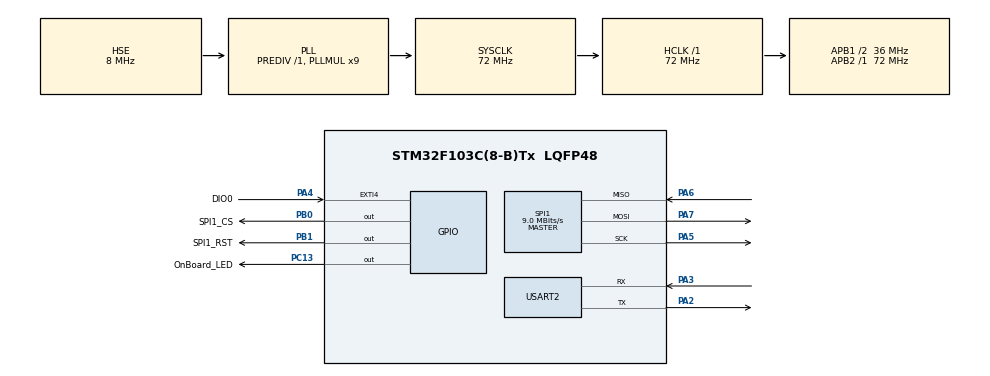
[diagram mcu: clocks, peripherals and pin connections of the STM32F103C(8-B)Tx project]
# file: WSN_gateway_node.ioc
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Mcu.Family=STM32F1
Mcu.Name=STM32F103C(8-B)Tx
Mcu.Package=LQFP48
NVIC.EXTI4_IRQn=true\:0\:0\:false\:false\:true\:true\:true\:true
NVIC.PriorityGroup=NVIC_PRIORITYGROUP_4
NVIC.RTC_Alarm_IRQn=true\:0\:0\:false\:false\:true\:true\:true\:true
NVIC.RTC_IRQn=true\:0\:0\:false\:false\:true\:true\:true\:true
NVIC.SPI1_IRQn=true\:0\:0\:false\:false\:true\:true\:true\:true
NVIC.USART2_IRQn=true\:0\:0\:true\:false\:true\:true\:true\:true
PA13.Mode=Serial_Wire
PA13.Signal=SYS_JTMS-SWDIO
PA14.Mode=Serial_Wire
PA14.Signal=SYS_JTCK-SWCLK
PA2.Mode=Asynchronous
PA2.Signal=USART2_TX
PA3.Mode=Asynchronous
PA3.Signal=USART2_RX
PA4.GPIO_Label=DIO0
PA4.Signal=GPXTI4
PA5.Mode=Full_Duplex_Master
PA5.Signal=SPI1_SCK
PA6.Mode=Full_Duplex_Master
PA6.Signal=SPI1_MISO
PA7.Mode=Full_Duplex_Master
PA7.Signal=SPI1_MOSI
PB0.GPIO_Label=SPI1_CS
PB0.PinState=GPIO_PIN_SET
PB0.Signal=GPIO_Output
PB1.GPIO_Label=SPI1_RST
PB1.PinState=GPIO_PIN_SET
PB1.Signal=GPIO_Output
PC13-TAMPER-RTC.GPIO_Label=OnBoard_LED
PC13-TAMPER-RTC.Signal=GPIO_Output
PC14-OSC32_IN.Mode=LSE-External-Oscillator
PC14-OSC32_IN.Signal=RCC_OSC32_IN
PC15-OSC32_OUT.Mode=LSE-External-Oscillator
PC15-OSC32_OUT.Signal=RCC_OSC32_OUT
PD0-OSC_IN.Mode=HSE-External-Oscillator
PD0-OSC_IN.Signal=RCC_OSC_IN
PD1-OSC_OUT.Mode=HSE-External-Oscillator
PD1-OSC_OUT.Signal=RCC_OSC_OUT
ProjectManager.HeapSize=0x200
ProjectManager.StackSize=0x400
ProjectManager.TargetToolchain=STM32CubeIDE
RCC.ADCPresc=RCC_ADCPCLK2_DIV6
RCC.AHBFreq_Value=72000000
RCC.APB1CLKDivider=RCC_HCLK_DIV2
RCC.APB1Freq_Value=36000000
RCC.APB1TimFreq_Value=72000000
RCC.APB2Freq_Value=72000000
RCC.APB2TimFreq_Value=72000000
RCC.HCLKFreq_Value=72000000
RCC.PLLMUL=RCC_PLL_MUL9
RCC.PLLSourceVirtual=RCC_PLLSOURCE_HSE
RCC.RTCClockSelection=RCC_RTCCLKSOURCE_LSE
RCC.SYSCLKFreq_VALUE=72000000
RCC.SYSCLKSource=RCC_SYSCLKSOURCE_PLLCLK
RCC.USBFreq_Value=72000000
SPI1.BaudRatePrescaler=SPI_BAUDRATEPRESCALER_8
SPI1.CalculateBaudRate=9.0 MBits/s
SPI1.Direction=SPI_DIRECTION_2LINES
SPI1.Mode=SPI_MODE_MASTER
SPI1.VirtualType=VM_MASTER
TIM4.Prescaler=71
USART2.VirtualMode=VM_ASYNC
VP_RTC_VS_RTC_Activate.Mode=RTC_Enabled
VP_RTC_VS_RTC_Calendar.Mode=RTC_Calendar
VP_TIM1_VS_ClockSourceINT.Mode=Internal
VP_TIM4_VS_ClockSourceINT.Mode=Internal
board=custom

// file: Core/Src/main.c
/* USER CODE BEGIN Header */
/**
  ******************************************************************************
  * @file           : main.c
  * @brief          : Main program body
  ******************************************************************************
  * @attention
  *
  * Copyright (c) 2026 STMicroelectronics.
  * All rights reserved.
  *
  * This software is licensed under terms that can be found in the LICENSE file
  * in the root directory of this software component.
  * If no LICENSE file comes with this software, it is provided AS-IS.
  *
  ******************************************************************************
  */
/* USER CODE END Header */
#include "main.h"
#include "rtc.h"
#include "spi.h"
#include "tim.h"
#include "usart.h"
#include "gpio.h"

/* USER CODE BEGIN Includes */
#include "sx1278_lora.h"
#include "lora_app.h"
/* USER CODE END Includes */

/* USER CODE BEGIN PV */

LoRa myLoRa;

uint8_t txBuffer[128];
uint8_t rxBuffer[128];

//Cờ xử lý nhận LoRa và ngắt Alarm
volatile uint8_t loraRxDoneFlag = 0;
volatile uint8_t alarm_triggered = 0;

// Bộ đệm xử lý UART (Nhận lệnh từ ESP32)
#define UART_RX_BUF_SIZE 256
uint8_t uartRxBuffer[UART_RX_BUF_SIZE]; //Buffer nhận raw
uint8_t cmdBuffer[UART_RX_BUF_SIZE];    //Buffer chứa lệnh hoàn chỉnh
volatile uint8_t uartRxIndex = 0;		//Index vị trí hiện tại
volatile uint8_t cmdReadyFlag = 0;      //Cờ báo có lệnh mới

/* USER CODE END PV */

void SystemClock_Config(void);

/* USER CODE BEGIN 0 */

uint8_t initialize_lora() {

    myLoRa.CS_port = SPI1_CS_GPIO_Port;
    myLoRa.CS_pin = SPI1_CS_Pin;
    myLoRa.reset_port = SPI1_RST_GPIO_Port;
    myLoRa.reset_pin = SPI1_RST_Pin;
    myLoRa.DIO0_port = DIO0_GPIO_Port;
    myLoRa.DIO0_pin = DIO0_Pin;
    myLoRa.hSPI = &hspi1;

    // --- Cấu hình LoRa ---
    myLoRa.frequency = 433;
    myLoRa.spredingFactor = SF_7;
    myLoRa.bandWidth = BW_125KHz;
    myLoRa.crcRate = CR_4_5;
    myLoRa.power = POWER_20db;
    myLoRa.overCurrentProtection = 140;
    myLoRa.preamble = 8;

    // --- Thực hiện Reset và Init ---
    LoRa_reset(&myLoRa);
    uint16_t init_result = LoRa_init(&myLoRa);
    if (init_result != LORA_OK) {
        return 0;
    }
    printf("LoRa Init OK.");
    HAL_GPIO_WritePin(LED_PORT, LED_PIN, 1);
    return 1;
}

/* USER CODE END 0 */

int main(void)
{

  /* MCU Configuration--------------------------------------------------------*/

  /* Reset of all peripherals, Initializes the Flash interface and the Systick. */
  HAL_Init();

  /* Configure the system clock */
  SystemClock_Config();

  /* Initialize all configured peripherals */
  MX_GPIO_Init();
  MX_SPI1_Init();
  MX_TIM4_Init();
  MX_RTC_Init();
  MX_USART2_UART_Init();
  MX_TIM1_Init();
  /* USER CODE BEGIN 2 */

  __HAL_RCC_PWR_CLK_ENABLE();

  // --- LORA INIT ---
  if(initialize_lora() == 0) {
	  printf("LoRa Init Failed!\r\n");
//	  Error_Handler();
  }

  // Khởi tạo Gateway App
  LoRaApp_Gateway_Init();

  // Bắt đầu nhận UART (Ngắt từng byte)
  HAL_UART_Receive_IT(&huart2, &uartRxBuffer[0], 1);

  // Chuyển LoRa sang chế độ nhận liên tục
  LoRa_setMode(&myLoRa, RXCONTIN_MODE);

  printf("\r\n[GW] >>> INIT OK! START RECIEVING <<<\r\n");

  uint32_t last_queue_time = 0;

  /* USER CODE END 2 */

  /* Infinite loop */
  /* USER CODE BEGIN WHILE */
  while (1)
  {
	  // XỬ LÝ GÓI TIN LORA ĐẾN
	if (loraRxDoneFlag) {
		loraRxDoneFlag = 0;
		memset(rxBuffer, 0, sizeof(rxBuffer));

		int len = LoRa_receive(&myLoRa, rxBuffer, sizeof(rxBuffer));
		if (len > 0) {
			// Hàm xử lý bản tin GW nhận được (Đăng ký Relay hoặc Data Relay)
			LoRaApp_Gateway_RxProcessing(&myLoRa, rxBuffer, len);
		}
	}

	// XỬ LÝ LỆNH CẤU HÌNH TỪ UART (ESP32 GỬI XUỐNG)
	if (cmdReadyFlag) {
		cmdReadyFlag = 0; // Xóa cờ

		// Format lệnh mong đợi: "60,0x01,50,0x02,10" (TotalCycle, ID1, Offset1...)
		LoRaApp_Gateway_ProcessConfigCommand(&myLoRa, (char*)cmdBuffer);
	}

	// GỬI QUEUE ĐỊNH KỲ (Mỗi 5s)
	if (HAL_GetTick() - last_queue_time > 5000) {
		// In danh sách Relay đang quản lý
		LoRaApp_Gateway_Send_RL_Queue();
		last_queue_time = HAL_GetTick();
	}

    /* USER CODE END WHILE */

  }
}

void SystemClock_Config(void)
{
  RCC_OscInitTypeDef RCC_OscInitStruct = {0};
  RCC_ClkInitTypeDef RCC_ClkInitStruct = {0};
  RCC_PeriphCLKInitTypeDef PeriphClkInit = {0};

  /** Initializes the RCC Oscillators according to the specified parameters
  * in the RCC_OscInitTypeDef structure.
  */
  RCC_OscInitStruct.OscillatorType = RCC_OSCILLATORTYPE_HSE|RCC_OSCILLATORTYPE_LSE;
  RCC_OscInitStruct.HSEState = RCC_HSE_ON;
  RCC_OscInitStruct.HSEPredivValue = RCC_HSE_PREDIV_DIV1;
  RCC_OscInitStruct.LSEState = RCC_LSE_ON;
  RCC_OscInitStruct.HSIState = RCC_HSI_ON;
  RCC_OscInitStruct.PLL.PLLState = RCC_PLL_ON;
  RCC_OscInitStruct.PLL.PLLSource = RCC_PLLSOURCE_HSE;
  RCC_OscInitStruct.PLL.PLLMUL = RCC_PLL_MUL9;
  if (HAL_RCC_OscConfig(&RCC_OscInitStruct) != HAL_OK)
  {
    Error_Handler();
  }

  /** Initializes the CPU, AHB and APB buses clocks
  */
  RCC_ClkInitStruct.ClockType = RCC_CLOCKTYPE_HCLK|RCC_CLOCKTYPE_SYSCLK
                              |RCC_CLOCKTYPE_PCLK1|RCC_CLOCKTYPE_PCLK2;
  RCC_ClkInitStruct.SYSCLKSource = RCC_SYSCLKSOURCE_PLLCLK;
  RCC_ClkInitStruct.AHBCLKDivider = RCC_SYSCLK_DIV1;
  RCC_ClkInitStruct.APB1CLKDivider = RCC_HCLK_DIV2;
  RCC_ClkInitStruct.APB2CLKDivider = RCC_HCLK_DIV1;

  if (HAL_RCC_ClockConfig(&RCC_ClkInitStruct, FLASH_LATENCY_2) != HAL_OK)
  {
    Error_Handler();
  }
  PeriphClkInit.PeriphClockSelection = RCC_PERIPHCLK_RTC;
  PeriphClkInit.RTCClockSelection = RCC_RTCCLKSOURCE_LSE;
  if (HAL_RCCEx_PeriphCLKConfig(&PeriphClkInit) != HAL_OK)
  {
    Error_Handler();
  }
}

/* USER CODE BEGIN 4 */

// Hàm printf qua UART2
#ifdef __GNUC__
#define PUTCHAR_PROTOTYPE int __io_putchar(int ch)
#else
#define PUTCHAR_PROTOTYPE int fputc(int ch, FILE *f)
#endif

PUTCHAR_PROTOTYPE {
    HAL_UART_Transmit(&huart2, (uint8_t *)&ch, 1, HAL_MAX_DELAY);
    return ch;
}

//===================== CALLBACK XỬ LÝ NGẮT DIO0 ===========================
void HAL_GPIO_EXTI_Callback(uint16_t GPIO_Pin)
{
    if (GPIO_Pin == myLoRa.DIO0_pin) {
        loraRxDoneFlag = 1;
//        printf("[GW] DIO0 Interrupt Triggered!\r\n");
    }

}

void HAL_RTC_AlarmAEventCallback(RTC_HandleTypeDef *hrtc)
{
//    // Bật lại SysTick
//    HAL_ResumeTick();
//
//    // Khôi phục lại Clock
//    SystemClock_Config_FromStop();

	alarm_triggered = 1;
	// Nháy đèn nhanh để biết ngắt đã vào
	HAL_GPIO_TogglePin(GPIOC, GPIO_PIN_13);

}

// Callback xử lý nhận UART từng byte (để detect \n)
void HAL_UART_RxCpltCallback(UART_HandleTypeDef *huart) {
    if (huart->Instance == USART2) {
        uint8_t received_char = uartRxBuffer[uartRxIndex];

        // Nếu gặp ký tự xuống dòng -> Kết thúc lệnh
        if (received_char == '\n' || received_char == '\r') {
        	if (uartRxIndex > 0) {
				uartRxBuffer[uartRxIndex] = 0; // Null terminate string

				// Copy sang buffer xử lý để giải phóng buffer nhận
				strcpy((char*)cmdBuffer, (char*)uartRxBuffer);
				cmdReadyFlag = 1;
        	}
        	// Reset index
        	uartRxIndex = 0;
        }
        else {
            uartRxIndex++;
            if (uartRxIndex >= UART_RX_BUF_SIZE) uartRxIndex = 0; // Tràn buffer thì ghi đè từ đầu
        }

        // Tiếp tục nhận byte tiếp theo vào vị trí index mới
        HAL_UART_Receive_IT(&huart2, &uartRxBuffer[uartRxIndex], 1);
    }
}

/* USER CODE END 4 */

void Error_Handler(void)
{
  __disable_irq();
  while (1)
  {
  }
}
